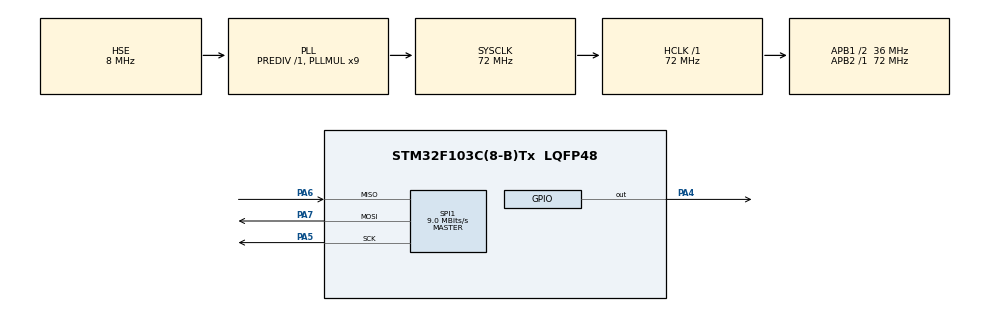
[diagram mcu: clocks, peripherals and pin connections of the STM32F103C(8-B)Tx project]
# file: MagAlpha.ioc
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Mcu.Family=STM32F1
Mcu.Name=STM32F103C(8-B)Tx
Mcu.Package=LQFP48
NVIC.PriorityGroup=NVIC_PRIORITYGROUP_4
PA13.Mode=Serial_Wire
PA13.Signal=SYS_JTMS-SWDIO
PA14.Mode=Serial_Wire
PA14.Signal=SYS_JTCK-SWCLK
PA4.GPIO_PuPd=GPIO_PULLUP
PA4.GPIO_Speed=GPIO_SPEED_FREQ_HIGH
PA4.PinState=GPIO_PIN_SET
PA4.Signal=GPIO_Output
PA5.Mode=Full_Duplex_Master
PA5.Signal=SPI1_SCK
PA6.Mode=Full_Duplex_Master
PA6.Signal=SPI1_MISO
PA7.Mode=Full_Duplex_Master
PA7.Signal=SPI1_MOSI
PD0-OSC_IN.Mode=HSE-External-Oscillator
PD0-OSC_IN.Signal=RCC_OSC_IN
PD1-OSC_OUT.Mode=HSE-External-Oscillator
PD1-OSC_OUT.Signal=RCC_OSC_OUT
ProjectManager.HeapSize=0x200
ProjectManager.StackSize=0x400
ProjectManager.TargetToolchain=STM32CubeIDE
RCC.AHBFreq_Value=72000000
RCC.APB1CLKDivider=RCC_HCLK_DIV2
RCC.APB1Freq_Value=36000000
RCC.APB1TimFreq_Value=72000000
RCC.APB2Freq_Value=72000000
RCC.APB2TimFreq_Value=72000000
RCC.HCLKFreq_Value=72000000
RCC.PLLMUL=RCC_PLL_MUL9
RCC.PLLSourceVirtual=RCC_PLLSOURCE_HSE
RCC.SYSCLKFreq_VALUE=72000000
RCC.SYSCLKSource=RCC_SYSCLKSOURCE_PLLCLK
RCC.USBFreq_Value=72000000
SPI1.BaudRatePrescaler=SPI_BAUDRATEPRESCALER_8
SPI1.CalculateBaudRate=9.0 MBits/s
SPI1.DataSize=SPI_DATASIZE_16BIT
SPI1.Direction=SPI_DIRECTION_2LINES
SPI1.Mode=SPI_MODE_MASTER
SPI1.VirtualType=VM_MASTER
TIM1.Prescaler=71
VP_TIM1_VS_ClockSourceINT.Mode=Internal
board=custom

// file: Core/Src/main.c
/* USER CODE BEGIN Header */
/**
  ******************************************************************************
  * @file           : main.c
  * @brief          : Main program body
  ******************************************************************************
  * @attention
  *
  * Copyright (c) 2022 STMicroelectronics.
  * All rights reserved.
  *
  * This software is licensed under terms that can be found in the LICENSE file
  * in the root directory of this software component.
  * If no LICENSE file comes with this software, it is provided AS-IS.
  *
  ******************************************************************************
  */
/* USER CODE END Header */
#include "main.h"

/* USER CODE BEGIN Includes */
#include "MagAlpha.h"
/* USER CODE END Includes */

 SPI_HandleTypeDef hspi1;

TIM_HandleTypeDef htim1;

void SystemClock_Config(void);
static void MX_GPIO_Init(void);
static void MX_SPI1_Init(void);
static void MX_TIM1_Init(void);

/* USER CODE BEGIN 0 */
// Implement some __weak functions that need for user
void MagAlpha_SPI_Write(uint16_t data){
	HAL_SPI_Transmit(&hspi1, (uint8_t*)&data, 1, 100);
}

uint16_t MagAlpha_SPI_Read(){
	uint16_t RxBuff;
	HAL_SPI_Receive(&hspi1, (uint8_t*)&RxBuff, 1, 100);
	return RxBuff;
}

void MagAlpha_SPI_Select(){
	HAL_GPIO_WritePin(GPIOA, GPIO_PIN_4, RESET);
}

void MagAlpha_SPI_Deselect(){
	HAL_GPIO_WritePin(GPIOA, GPIO_PIN_4, SET);
}

void MagAlpha_DelayMs(int ms){
	HAL_Delay(ms);
}

void MagAlpha_DelayUs(int us){
	Delay_us(us);
}
/* USER CODE END 0 */

int main(void)
{

  /* MCU Configuration--------------------------------------------------------*/

  /* Reset of all peripherals, Initializes the Flash interface and the Systick. */
  HAL_Init();

  /* Configure the system clock */
  SystemClock_Config();

  /* Initialize all configured peripherals */
  MX_GPIO_Init();
  MX_SPI1_Init();
  MX_TIM1_Init();
  /* USER CODE BEGIN 2 */
  HAL_TIM_Base_Init(&htim1);
  /* USER CODE END 2 */

  /* Infinite loop */
  while (1)
  {
	float a = MagAlpha_ReadAngle();
	HAL_Delay(5);
	//Next processing

  }
}

void SystemClock_Config(void)
{
  RCC_OscInitTypeDef RCC_OscInitStruct = {0};
  RCC_ClkInitTypeDef RCC_ClkInitStruct = {0};

  /** Initializes the RCC Oscillators according to the specified parameters
  * in the RCC_OscInitTypeDef structure.
  */
  RCC_OscInitStruct.OscillatorType = RCC_OSCILLATORTYPE_HSE;
  RCC_OscInitStruct.HSEState = RCC_HSE_ON;
  RCC_OscInitStruct.HSEPredivValue = RCC_HSE_PREDIV_DIV1;
  RCC_OscInitStruct.HSIState = RCC_HSI_ON;
  RCC_OscInitStruct.PLL.PLLState = RCC_PLL_ON;
  RCC_OscInitStruct.PLL.PLLSource = RCC_PLLSOURCE_HSE;
  RCC_OscInitStruct.PLL.PLLMUL = RCC_PLL_MUL9;
  if (HAL_RCC_OscConfig(&RCC_OscInitStruct) != HAL_OK)
  {
    Error_Handler();
  }

  /** Initializes the CPU, AHB and APB buses clocks
  */
  RCC_ClkInitStruct.ClockType = RCC_CLOCKTYPE_HCLK|RCC_CLOCKTYPE_SYSCLK
                              |RCC_CLOCKTYPE_PCLK1|RCC_CLOCKTYPE_PCLK2;
  RCC_ClkInitStruct.SYSCLKSource = RCC_SYSCLKSOURCE_PLLCLK;
  RCC_ClkInitStruct.AHBCLKDivider = RCC_SYSCLK_DIV1;
  RCC_ClkInitStruct.APB1CLKDivider = RCC_HCLK_DIV2;
  RCC_ClkInitStruct.APB2CLKDivider = RCC_HCLK_DIV1;

  if (HAL_RCC_ClockConfig(&RCC_ClkInitStruct, FLASH_LATENCY_2) != HAL_OK)
  {
    Error_Handler();
  }
}

static void MX_SPI1_Init(void)
{

  /* SPI1 parameter configuration*/
  hspi1.Instance = SPI1;
  hspi1.Init.Mode = SPI_MODE_MASTER;
  hspi1.Init.Direction = SPI_DIRECTION_2LINES;
  hspi1.Init.DataSize = SPI_DATASIZE_16BIT;
  hspi1.Init.CLKPolarity = SPI_POLARITY_LOW;
  hspi1.Init.CLKPhase = SPI_PHASE_1EDGE;
  hspi1.Init.NSS = SPI_NSS_SOFT;
  hspi1.Init.BaudRatePrescaler = SPI_BAUDRATEPRESCALER_8;
  hspi1.Init.FirstBit = SPI_FIRSTBIT_MSB;
  hspi1.Init.TIMode = SPI_TIMODE_DISABLE;
  hspi1.Init.CRCCalculation = SPI_CRCCALCULATION_DISABLE;
  hspi1.Init.CRCPolynomial = 10;
  if (HAL_SPI_Init(&hspi1) != HAL_OK)
  {
    Error_Handler();
  }

}

static void MX_TIM1_Init(void)
{

  TIM_ClockConfigTypeDef sClockSourceConfig = {0};
  TIM_MasterConfigTypeDef sMasterConfig = {0};

  htim1.Instance = TIM1;
  htim1.Init.Prescaler = 71;
  htim1.Init.CounterMode = TIM_COUNTERMODE_UP;
  htim1.Init.Period = 65535;
  htim1.Init.ClockDivision = TIM_CLOCKDIVISION_DIV1;
  htim1.Init.RepetitionCounter = 0;
  htim1.Init.AutoReloadPreload = TIM_AUTORELOAD_PRELOAD_DISABLE;
  if (HAL_TIM_Base_Init(&htim1) != HAL_OK)
  {
    Error_Handler();
  }
  sClockSourceConfig.ClockSource = TIM_CLOCKSOURCE_INTERNAL;
  if (HAL_TIM_ConfigClockSource(&htim1, &sClockSourceConfig) != HAL_OK)
  {
    Error_Handler();
  }
  sMasterConfig.MasterOutputTrigger = TIM_TRGO_RESET;
  sMasterConfig.MasterSlaveMode = TIM_MASTERSLAVEMODE_DISABLE;
  if (HAL_TIMEx_MasterConfigSynchronization(&htim1, &sMasterConfig) != HAL_OK)
  {
    Error_Handler();
  }

}

static void MX_GPIO_Init(void)
{
  GPIO_InitTypeDef GPIO_InitStruct = {0};

  /* GPIO Ports Clock Enable */
  __HAL_RCC_GPIOD_CLK_ENABLE();
  __HAL_RCC_GPIOA_CLK_ENABLE();

  /*Configure GPIO pin Output Level */
  HAL_GPIO_WritePin(GPIOA, GPIO_PIN_4, GPIO_PIN_SET);

  /*Configure GPIO pin : PA4 */
  GPIO_InitStruct.Pin = GPIO_PIN_4;
  GPIO_InitStruct.Mode = GPIO_MODE_OUTPUT_PP;
  GPIO_InitStruct.Pull = GPIO_PULLUP;
  GPIO_InitStruct.Speed = GPIO_SPEED_FREQ_HIGH;
  HAL_GPIO_Init(GPIOA, &GPIO_InitStruct);

}

/* USER CODE BEGIN 4 */
void Delay_us(int us)
{
	__HAL_TIM_SET_COUNTER(&htim1,0);
	while(__HAL_TIM_GET_COUNTER(&htim1) < us);
}
/* USER CODE END 4 */

void Error_Handler(void)
{
  __disable_irq();
  while (1)
  {
  }
}
